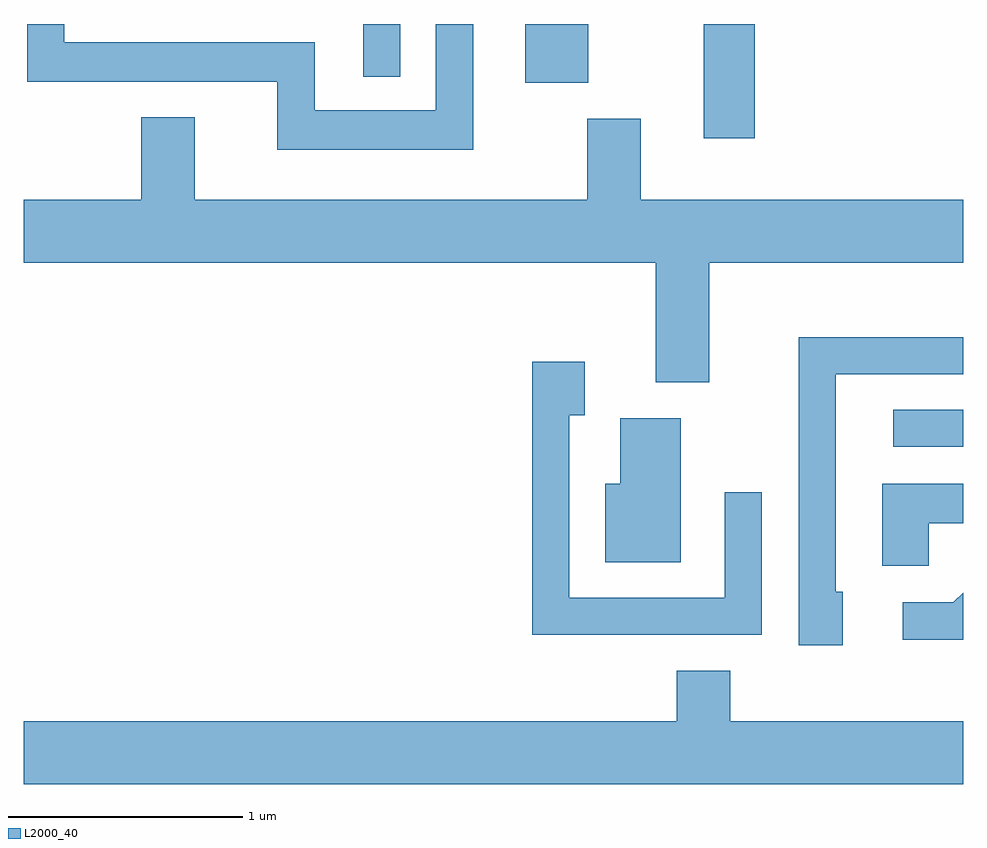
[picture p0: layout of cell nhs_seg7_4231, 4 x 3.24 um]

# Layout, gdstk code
import gdstk
lib = gdstk.Library(unit=1e-6, precision=1e-09)
def R(c, l, rs):  # rectangles x0, y0, x1, y1
    for r in rs: c.add(gdstk.rectangle(r[:2], r[2:], *l))
def P(c, l, *ps):  # polygons
    for p in ps: c.add(gdstk.Polygon(p, *l))
L2000_40 = (2000, 40)

nhs_seg7_4231 = lib.new_cell('nhs_seg7_4231')
R(nhs_seg7_4231, L2000_40, [(319.313,1682.451,319.611,1682.609), (318.506,1683.766,318.724,1684.252), (317.746,1684.001,318.014,1684.252), (317.056,1684.028,317.214,1684.252)])
P(nhs_seg7_4231, L2000_40, [(317.524,1684.252),(317.366,1684.252),(317.366,1683.884),(316.849,1683.884),(316.849,1684.174),(315.784,1684.174),(315.784,1684.252),(315.626,1684.252),(315.626,1684.006),(316.691,1684.006),(316.691,1683.716),(317.524,1683.716)],
  [(318.529,1683.236),(319.611,1683.236),(319.611,1683.504),(318.239,1683.504),(318.239,1683.849),(318.011,1683.849),(318.011,1683.504),(316.339,1683.504),(316.339,1683.854),(316.111,1683.854),(316.111,1683.504),(315.611,1683.504),(315.611,1683.236),(318.301,1683.236),(318.301,1682.726),(318.529,1682.726)],
  [(319.099,1681.834),(319.069,1681.834),(319.069,1682.761),(319.611,1682.761),(319.611,1682.919),(318.911,1682.919),(318.911,1681.606),(319.099,1681.606)],
  [(318.754,1682.258),(318.596,1682.258),(318.596,1681.809),(317.934,1681.809),(317.934,1682.586),(317.999,1682.586),(317.999,1682.814),(317.776,1682.814),(317.776,1681.651),(318.754,1681.651)],
  [(318.409,1682.574),(318.151,1682.574),(318.151,1682.294),(318.086,1682.294),(318.086,1681.961),(318.409,1681.961)],
  [(319.464,1682.126),(319.611,1682.126),(319.611,1682.294),(319.266,1682.294),(319.266,1681.946),(319.464,1681.946)],
  [(319.611,1681.831),(319.569,1681.789),(319.353,1681.789),(319.353,1681.631),(319.611,1681.631)],
  [(319.611,1681.284),(318.619,1681.284),(318.619,1681.499),(318.391,1681.499),(318.391,1681.284),(315.611,1681.284),(315.611,1681.016),(319.611,1681.016)])

lib.write_gds('nhs_seg7_4231.gds')
